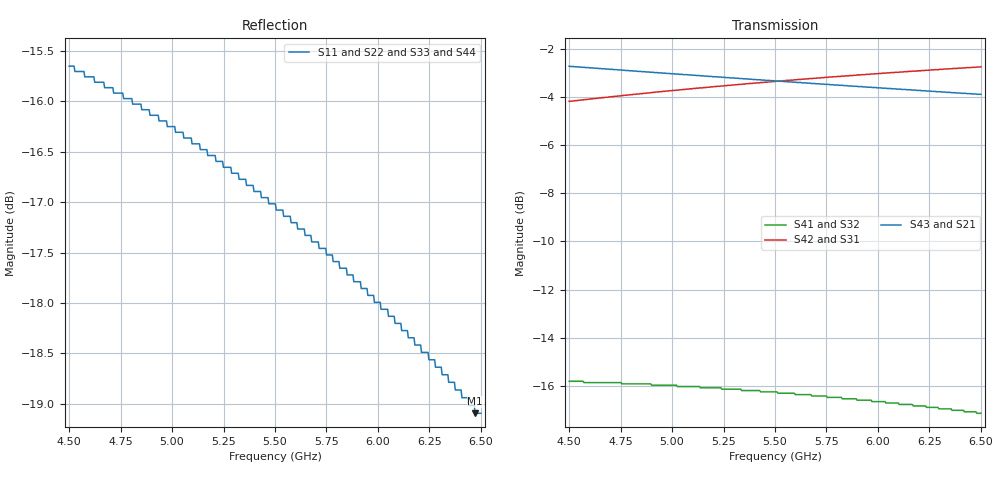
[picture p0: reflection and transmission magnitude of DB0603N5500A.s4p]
!	AVX THIN FILM OPERATION
!	0603 SIZE 3dB 90deg COUPLER P/N DB0603N5500ANTR
!	Created August 2010
!	Network Analyzer HP8720E S.07.64: Feb23, 2000 Serial No.US39172382
# MHZ S MA R 50
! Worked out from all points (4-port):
!   500 points, 4.5 GHz to 6.5 GHz, reference 50 ohm
!   strongest paths, dB at 4.5 GHz, 5.001 GHz, 5.502 GHz, 6.003 GHz, 6.5 GHz:
!     S43: -2.7, -3.0, -3.3, -3.6, -3.9
!     S21: -2.7, -3.0, -3.3, -3.6, -3.9
!     S42: -4.2, -3.7, -3.3, -3.0, -2.7
!     S31: -4.2, -3.7, -3.3, -3.0, -2.7
!     S41: -15.8, -16.0, -16.2, -16.7, -17.1
!     S32: -15.8, -16.0, -16.2, -16.7, -17.1
!   lowest |S11| = -19.1 dB at 6.472 GHz (marker M1), VSWR 1.25, Z = 40 - j0.821 ohm
!   |S11| at or under -10 dB: start of sweep to end of sweep
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4500  0.165 -166.5  0.731 -52.5  0.618 34.5  0.162 -22.1
      0.731 -52.5  0.165 -166.5  0.162 -22.1  0.618 34.5
      0.618 34.5  0.162 -22.1  0.165 -166.5  0.731 -52.5
      0.162 -22.1  0.618 34.5  0.731 -52.5  0.165 -166.5
4964.93  0.155 -170.1  0.707 -56.3  0.648 31.1  0.159 -30.3
         0.707 -56.3  0.155 -170.1  0.159 -30.3  0.648 31.1
         0.648 31.1  0.159 -30.3  0.155 -170.1  0.707 -56.3
         0.159 -30.3  0.648 31.1  0.707 -56.3  0.155 -170.1
5229.459  0.148 -171.7  0.694 -58.5  0.664 29.2  0.157 -34.9
          0.694 -58.5  0.148 -171.7  0.157 -34.9  0.664 29.2
          0.664 29.2  0.157 -34.9  0.148 -171.7  0.694 -58.5
          0.157 -34.9  0.664 29.2  0.694 -58.5  0.148 -171.7
5566.132  0.139 -173.4  0.678 -61.1  0.683 26.9  0.153 -40.6
          0.678 -61.1  0.139 -173.4  0.153 -40.6  0.683 26.9
          0.683 26.9  0.153 -40.6  0.139 -173.4  0.678 -61.1
          0.153 -40.6  0.683 26.9  0.678 -61.1  0.139 -173.4
6039.078  0.125 -174.7  0.658 -64.8  0.707 23.7  0.146 -48.5
          0.658 -64.8  0.125 -174.7  0.146 -48.5  0.707 23.7
          0.707 23.7  0.146 -48.5  0.125 -174.7  0.658 -64.8
          0.146 -48.5  0.707 23.7  0.658 -64.8  0.125 -174.7
6471.944  0.111 -174.8  0.64 -68.0  0.727 20.9  0.14 -55.5
          0.64 -68.0  0.111 -174.8  0.14 -55.5  0.727 20.9
          0.727 20.9  0.14 -55.5  0.111 -174.8  0.64 -68.0
          0.14 -55.5  0.727 20.9  0.64 -68.0  0.111 -174.8
6500  0.111 -174.7  0.639 -68.2  0.729 20.7  0.139 -56.0
      0.639 -68.2  0.111 -174.7  0.139 -56.0  0.729 20.7
      0.729 20.7  0.139 -56.0  0.111 -174.7  0.639 -68.2
      0.139 -56.0  0.729 20.7  0.639 -68.2  0.111 -174.7
